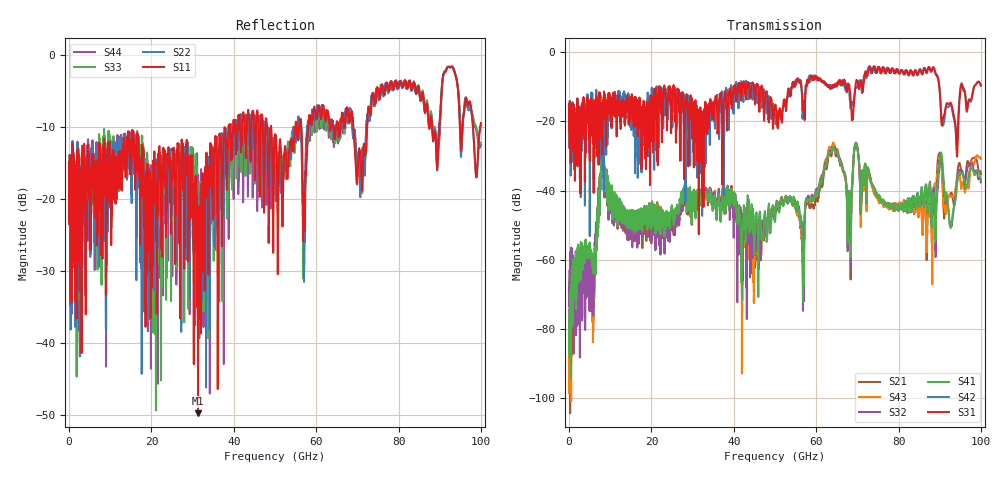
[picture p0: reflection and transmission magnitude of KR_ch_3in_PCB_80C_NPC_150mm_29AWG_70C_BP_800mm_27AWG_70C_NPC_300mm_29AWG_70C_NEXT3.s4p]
# GHz S RI R 45
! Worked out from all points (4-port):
!   4000 points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, 25 MHz to 100 GHz, reference 45 ohm
!   strongest paths, dB at 25 MHz, 25.02 GHz, 50.02 GHz, 75.03 GHz, 100 GHz:
!     S31: -20.7, -14.7, -15.7, -5.0, -9.6
!     S42: -20.7, -17.7, -18.0, -4.4, -9.7
!     S41: -87.2, -46.2, -49.1, -41.7, -37.0
!     S32: -86.7, -47.3, -46.8, -41.8, -37.6
!     S43: -88.8, -47.9, -46.0, -42.0, -30.9
!     S21: -95.0, -50.1, -47.3, -41.9, -35.2
!   lowest |S11| = -49.8 dB at 31.32 GHz (marker M1), VSWR 1.01, Z = 44.7 - j0.0103 ohm
!   |S11| at or under -10 dB: start of sweep to 38.73 GHz; 49.08 GHz to 54.98 GHz (5.895 GHz wide, 11.3 % of centre); 69.01 GHz to 72.38 GHz (3.364 GHz wide, 4.76 % of centre)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
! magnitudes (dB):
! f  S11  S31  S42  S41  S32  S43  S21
! 25 MHz  -16.6  -20.7  -20.7  -87.2  -86.7  -88.8  -95.0
! 5.875 GHz  -17.1  -18.7  -14.2  -62.2  -71.8  -80.8  -77.7
! 8.25 GHz  -13.1  -14.7  -19.5  -32.4  -32.6  -32.5  -32.6
! 31.32 GHz  -49.8  -21.2  -21.6  -42.4  -42.1  -41.6  -41.9
! 56.67 GHz  -16.6  -14.8  -19.2  -59.2  -58.3  -57.8  -57.2
! 63.92 GHz  -9.3  -9.6  -10.4  -27.8  -28.0  -26.9  -28.4
! 100 GHz  -9.5  -9.6  -9.7  -37.0  -37.6  -30.9  -35.2
